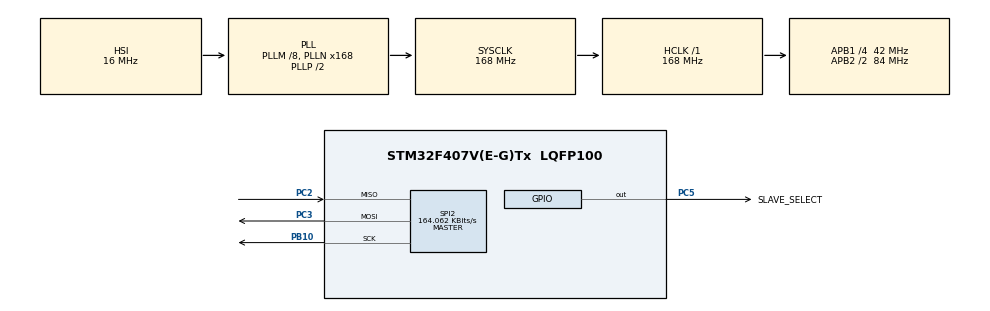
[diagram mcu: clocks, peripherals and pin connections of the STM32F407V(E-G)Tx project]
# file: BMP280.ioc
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Mcu.Family=STM32F4
Mcu.Name=STM32F407V(E-G)Tx
Mcu.Package=LQFP100
NVIC.PriorityGroup=NVIC_PRIORITYGROUP_0
PA13.Mode=Serial_Wire
PA13.Signal=SYS_JTMS-SWDIO
PA14.Mode=Serial_Wire
PA14.Signal=SYS_JTCK-SWCLK
PB10.Mode=Full_Duplex_Master
PB10.Signal=SPI2_SCK
PC2.Mode=Full_Duplex_Master
PC2.Signal=SPI2_MISO
PC3.Mode=Full_Duplex_Master
PC3.Signal=SPI2_MOSI
PC5.GPIO_Label=SLAVE_SELECT
PC5.GPIO_Speed=GPIO_SPEED_FREQ_VERY_HIGH
PC5.Signal=GPIO_Output
ProjectManager.HeapSize=0x200
ProjectManager.StackSize=0x400
ProjectManager.TargetToolchain=STM32CubeIDE
RCC.48MHZClocksFreq_Value=48000000
RCC.AHBFreq_Value=168000000
RCC.APB1CLKDivider=RCC_HCLK_DIV4
RCC.APB1Freq_Value=42000000
RCC.APB1TimFreq_Value=84000000
RCC.APB2CLKDivider=RCC_HCLK_DIV2
RCC.APB2Freq_Value=84000000
RCC.APB2TimFreq_Value=168000000
RCC.CortexFreq_Value=168000000
RCC.HCLKFreq_Value=168000000
RCC.HSE_VALUE=8000000
RCC.HSI_VALUE=16000000
RCC.LSE_VALUE=32768
RCC.PLLM=8
RCC.PLLN=168
RCC.PLLQ=7
RCC.SYSCLKFreq_VALUE=168000000
RCC.SYSCLKSource=RCC_SYSCLKSOURCE_PLLCLK
RCC.VCOOutputFreq_Value=336000000
SPI2.BaudRatePrescaler=SPI_BAUDRATEPRESCALER_256
SPI2.CalculateBaudRate=164.062 KBits/s
SPI2.Direction=SPI_DIRECTION_2LINES
SPI2.Mode=SPI_MODE_MASTER
SPI2.VirtualType=VM_MASTER
board=STM32F407G-DISC1

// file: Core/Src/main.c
/* USER CODE BEGIN Header */
/**
 ******************************************************************************
 * @file           : main.c
 * @brief          : Main program body
 ******************************************************************************
 * @attention
 *
 * Copyright (c) 2024 STMicroelectronics.
 * All rights reserved.
 *
 * This software is licensed under terms that can be found in the LICENSE file
 * in the root directory of this software component.
 * If no LICENSE file comes with this software, it is provided AS-IS.
 *
 ******************************************************************************
 */
/* USER CODE END Header */
#include "main.h"

/* USER CODE BEGIN PD */
#define BMP280_TEMP_XLSB 		0XFC
#define BMP280_TEMP_LSB 		0XFB
#define BMP280_TEMP_MSB 		0XFA
#define BMP280_PRESS_XLSB 		0XF9
#define BMP280_PRESS_LSB 		0XF8
#define BMP280_PRESS_MSB 		0XF7
#define BMP280_CONFIG 			0XF5
#define BMP280_CTRL_MEAS 		0XF4
#define BMP280_STATUS 			0XF3
#define BMP280_RESET 			0XE0
#define BMP280_ID 				0XD0

/* Oversampling set byte osrs_t (x2)
 Oversampling set byte osrs_p (x16)
 Normal mode - (11) */
#define BMP280_CTRL_MEAS_VALUE  0x57
#define BMP280_RESET_VALUE 		0xB6
#define TIMEOUT_DELAY 			100

/* USER CODE END PD */

SPI_HandleTypeDef hspi2;

/* USER CODE BEGIN PV */
uint8_t data;
uint8_t comp_val_lsb;
uint8_t comp_val_msb;
uint16_t dig_T1;

/* USER CODE END PV */

void SystemClock_Config(void);
static void MX_GPIO_Init(void);
static void MX_SPI2_Init(void);
/* USER CODE BEGIN PFP */
void bmp280_reg_config(uint8_t reg_addr, uint8_t data);
void bmp280_reg_read(uint8_t reg_addr);
void bmp280_read_compensation_val(uint8_t reg_addr_lsb, uint8_t reg_addr_msb);
void bmp280_read_dig_T1(void);

/* USER CODE END PFP */

/* USER CODE BEGIN 0 */
	//IIR Filter coefficient 16 - reg 0xf5

	//Data readout is done by starting a burst read from 0xF7 to
	//0xFC. The data are read out in an unsigned 20-bit format both for pressure and for temperature.

void bmp280_reg_config(uint8_t reg_addr, uint8_t data) {
	reg_addr = reg_addr & ~(1 << 7);
	HAL_GPIO_WritePin(SLAVE_SELECT_GPIO_Port, SLAVE_SELECT_Pin, GPIO_PIN_RESET);
	HAL_SPI_Transmit(&hspi2, &reg_addr, 1, TIMEOUT_DELAY);
	HAL_SPI_Transmit(&hspi2, &data, 1, TIMEOUT_DELAY);
	HAL_GPIO_WritePin(SLAVE_SELECT_GPIO_Port, SLAVE_SELECT_Pin, GPIO_PIN_SET);
}

void bmp280_reg_read(uint8_t reg_addr) {
	reg_addr = reg_addr | (1 << 7);
	HAL_GPIO_WritePin(SLAVE_SELECT_GPIO_Port, SLAVE_SELECT_Pin, GPIO_PIN_RESET);
	HAL_SPI_Transmit(&hspi2, &reg_addr, 1, TIMEOUT_DELAY);
	HAL_SPI_Receive(&hspi2, &data, 1, TIMEOUT_DELAY);
	HAL_GPIO_WritePin(SLAVE_SELECT_GPIO_Port, SLAVE_SELECT_Pin, GPIO_PIN_SET);
}

void bmp280_read_compensation_val(uint8_t reg_addr_lsb, uint8_t reg_addr_msb) {
	// Set MSB to indicate read operation
	// Pull CS low to select the BMP280
	// Read LSB
	// Read MSB
	// Pull CS high to deselect the BMP280
	// Combine the MSB and LSB to form the compensation value
	reg_addr_lsb = reg_addr_lsb | (1 << 7);
	reg_addr_msb = reg_addr_msb | (1 << 7);
	HAL_GPIO_WritePin(SLAVE_SELECT_GPIO_Port, SLAVE_SELECT_Pin, GPIO_PIN_RESET);
	HAL_SPI_Transmit(&hspi2, &reg_addr_lsb, 1, TIMEOUT_DELAY);
	HAL_SPI_Receive(&hspi2, &comp_val_lsb, 1, TIMEOUT_DELAY);
	HAL_SPI_Transmit(&hspi2, &reg_addr_msb, 1, TIMEOUT_DELAY);
	HAL_SPI_Receive(&hspi2, &comp_val_msb, 1, TIMEOUT_DELAY);
	HAL_GPIO_WritePin(SLAVE_SELECT_GPIO_Port, SLAVE_SELECT_Pin, GPIO_PIN_SET);
    dig_T1 = (comp_val_msb << 8) | comp_val_lsb;
}

/* USER CODE END 0 */

int main(void) {

	/* MCU Configuration--------------------------------------------------------*/

	/* Reset of all peripherals, Initializes the Flash interface and the Systick. */
	HAL_Init();

	/* Configure the system clock */
	SystemClock_Config();

	/* Initialize all configured peripherals */
	MX_GPIO_Init();
	MX_SPI2_Init();
	/* USER CODE BEGIN 2 */
	HAL_GPIO_WritePin(SLAVE_SELECT_GPIO_Port, SLAVE_SELECT_Pin, GPIO_PIN_SET);
	//bmp280_reg_config(BMP280_RESET, BMP280_RESET_VALUE);

	/* USER CODE END 2 */

	/* Infinite loop */
	while (1) {

		/* USER CODE BEGIN 3 */
bmp280_reg_read(BMP280_ID);
		bmp280_read_compensation_val(0x8E,0x8F);

		HAL_Delay(3000);
	}
	/* USER CODE END 3 */
}

void SystemClock_Config(void) {
	RCC_OscInitTypeDef RCC_OscInitStruct = { 0 };
	RCC_ClkInitTypeDef RCC_ClkInitStruct = { 0 };

	/** Configure the main internal regulator output voltage
	 */
	__HAL_RCC_PWR_CLK_ENABLE();
	__HAL_PWR_VOLTAGESCALING_CONFIG(PWR_REGULATOR_VOLTAGE_SCALE1);

	/** Initializes the RCC Oscillators according to the specified parameters
	 * in the RCC_OscInitTypeDef structure.
	 */
	RCC_OscInitStruct.OscillatorType = RCC_OSCILLATORTYPE_HSI;
	RCC_OscInitStruct.HSIState = RCC_HSI_ON;
	RCC_OscInitStruct.HSICalibrationValue = RCC_HSICALIBRATION_DEFAULT;
	RCC_OscInitStruct.PLL.PLLState = RCC_PLL_ON;
	RCC_OscInitStruct.PLL.PLLSource = RCC_PLLSOURCE_HSI;
	RCC_OscInitStruct.PLL.PLLM = 8;
	RCC_OscInitStruct.PLL.PLLN = 168;
	RCC_OscInitStruct.PLL.PLLP = RCC_PLLP_DIV2;
	RCC_OscInitStruct.PLL.PLLQ = 7;
	if (HAL_RCC_OscConfig(&RCC_OscInitStruct) != HAL_OK) {
		Error_Handler();
	}

	/** Initializes the CPU, AHB and APB buses clocks
	 */
	RCC_ClkInitStruct.ClockType = RCC_CLOCKTYPE_HCLK | RCC_CLOCKTYPE_SYSCLK
			| RCC_CLOCKTYPE_PCLK1 | RCC_CLOCKTYPE_PCLK2;
	RCC_ClkInitStruct.SYSCLKSource = RCC_SYSCLKSOURCE_PLLCLK;
	RCC_ClkInitStruct.AHBCLKDivider = RCC_SYSCLK_DIV1;
	RCC_ClkInitStruct.APB1CLKDivider = RCC_HCLK_DIV4;
	RCC_ClkInitStruct.APB2CLKDivider = RCC_HCLK_DIV2;

	if (HAL_RCC_ClockConfig(&RCC_ClkInitStruct, FLASH_LATENCY_5) != HAL_OK) {
		Error_Handler();
	}
}

static void MX_SPI2_Init(void) {

	/* SPI2 parameter configuration*/
	hspi2.Instance = SPI2;
	hspi2.Init.Mode = SPI_MODE_MASTER;
	hspi2.Init.Direction = SPI_DIRECTION_2LINES;
	hspi2.Init.DataSize = SPI_DATASIZE_8BIT;
	hspi2.Init.CLKPolarity = SPI_POLARITY_LOW;
	hspi2.Init.CLKPhase = SPI_PHASE_1EDGE;
	hspi2.Init.NSS = SPI_NSS_SOFT;
	hspi2.Init.BaudRatePrescaler = SPI_BAUDRATEPRESCALER_256;
	hspi2.Init.FirstBit = SPI_FIRSTBIT_MSB;
	hspi2.Init.TIMode = SPI_TIMODE_DISABLE;
	hspi2.Init.CRCCalculation = SPI_CRCCALCULATION_DISABLE;
	hspi2.Init.CRCPolynomial = 10;
	if (HAL_SPI_Init(&hspi2) != HAL_OK) {
		Error_Handler();
	}

}

static void MX_GPIO_Init(void) {
	GPIO_InitTypeDef GPIO_InitStruct = { 0 };

	/* GPIO Ports Clock Enable */
	__HAL_RCC_GPIOC_CLK_ENABLE();
	__HAL_RCC_GPIOB_CLK_ENABLE();
	__HAL_RCC_GPIOA_CLK_ENABLE();

	/*Configure GPIO pin Output Level */
	HAL_GPIO_WritePin(SLAVE_SELECT_GPIO_Port, SLAVE_SELECT_Pin, GPIO_PIN_RESET);

	/*Configure GPIO pin : SLAVE_SELECT_Pin */
	GPIO_InitStruct.Pin = SLAVE_SELECT_Pin;
	GPIO_InitStruct.Mode = GPIO_MODE_OUTPUT_PP;
	GPIO_InitStruct.Pull = GPIO_NOPULL;
	GPIO_InitStruct.Speed = GPIO_SPEED_FREQ_VERY_HIGH;
	HAL_GPIO_Init(SLAVE_SELECT_GPIO_Port, &GPIO_InitStruct);

}

void Error_Handler(void) {
	__disable_irq();
	while (1) {
	}
}
